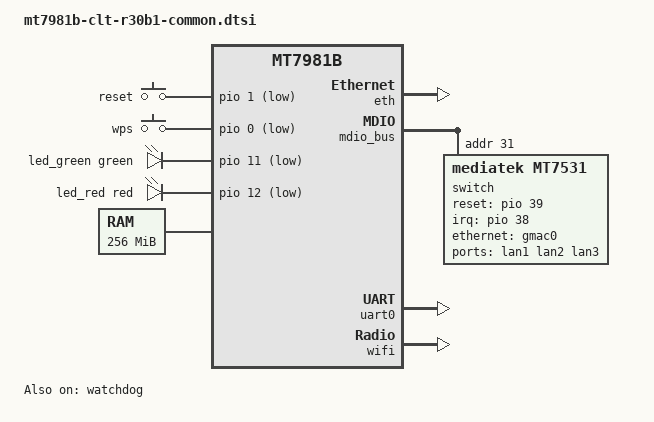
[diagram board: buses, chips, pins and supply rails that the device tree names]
// SPDX-License-Identifier: GPL-2.0-only OR MIT
/dts-v1/;

#include <dt-bindings/gpio/gpio.h>
#include <dt-bindings/input/input.h>
#include <dt-bindings/leds/common.h>

#include "mt7981b.dtsi"

/ {
    aliases {
        serial0 = &uart0;
        label-mac-device = &gmac0;

        led-boot = &led_status_red;
	led-failsafe = &led_status_red;
	led-running = &led_status_green;
	led-upgrade = &led_status_green;

    };

    chosen {
	   stdout-path = "serial0:115200n8";
	   bootargs = "console=ttyS0,115200n1 loglevel=8 earlycon=uart8250,mmio32,0x11002000";
    };


	gpio-keys {
		compatible = "gpio-keys";

		reset {
			label = "reset";
			linux,code = <KEY_RESTART>;
			gpios = <&pio 1 GPIO_ACTIVE_LOW>;
			debounce-interval = <60>;
		};

		wps {
			label = "wps";
			gpios = <&pio 0 GPIO_ACTIVE_LOW>;
			linux,code = <KEY_WPS_BUTTON>;
			linux,input-type = <EV_SW>;
			debounce-interval = <60>;
		};
	};

    leds {
		compatible = "gpio-leds";

		led_status_green: green {
			label = "led_green";
			gpios = <&pio 11 GPIO_ACTIVE_LOW>;
			function = LED_FUNCTION_STATUS;
			color = <LED_COLOR_ID_GREEN>;
		};

		led_status_red: red {
			label = "led_red";
			gpios = <&pio 12 GPIO_ACTIVE_LOW>;
			function = LED_FUNCTION_STATUS;
			color = <LED_COLOR_ID_RED>;
		};
	};

    memory {
        reg = <0 0x40000000 0 0x10000000>;
    };
};

&eth {
	status = "okay";

	gmac0: mac@0 {
		compatible = "mediatek,eth-mac";
		reg = <0>;
		phy-mode = "2500base-x";
		fixed-link {
			speed = <2500>;
			full-duplex;
			pause;
		};
	};

	gmac1: mac@1 {
		compatible = "mediatek,eth-mac";
		reg = <1>;
		phy-mode = "gmii";
		phy-handle = <&int_gbe_phy>;
	};

};

&mdio_bus {
	switch: switch@1f {
		compatible = "mediatek,mt7531";
		reg = <31>;
		reset-gpios = <&pio 39 GPIO_ACTIVE_HIGH>;
		interrupt-controller;
		#interrupt-cells = <1>;
		interrupt-parent = <&pio>;
		interrupts = <38 IRQ_TYPE_LEVEL_HIGH>;
	};
};

&switch {
	ports {
		#address-cells = <1>;
		#size-cells = <0>;

		port@0 {
			reg = <0>;
			label = "lan1";
		};

		port@1 {
			reg = <1>;
			label = "lan2";
		};

		port@2 {
			reg = <2>;
			label = "lan3";
		};

		port@6 {
			reg = <6>;
			ethernet = <&gmac0>;
			phy-mode = "2500base-x";

			fixed-link {
				speed = <2500>;
				full-duplex;
				pause;
			};
		};
	};
};

&pio {
	spi0_flash_pins: spi0-pins {
		mux {
			function = "spi";
			groups = "spi0", "spi0_wp_hold";
		};

		conf-pu {
			pins = "SPI0_CS", "SPI0_HOLD", "SPI0_WP";
			drive-strength = <MTK_DRIVE_8mA>;
			bias-pull-up = <MTK_PUPD_SET_R1R0_11>;
		};

		conf-pd {
			pins = "SPI0_CLK", "SPI0_MOSI", "SPI0_MISO";
			drive-strength = <MTK_DRIVE_8mA>;
			bias-pull-down = <MTK_PUPD_SET_R1R0_11>;
		};
	};
};

&uart0 {
	status = "okay";
};

&watchdog {
	status = "okay";
};

&wifi {
	status = "okay";
	nvmem-cell-names = "eeprom";
	nvmem-cells = <&eeprom_factory_0>;
};
